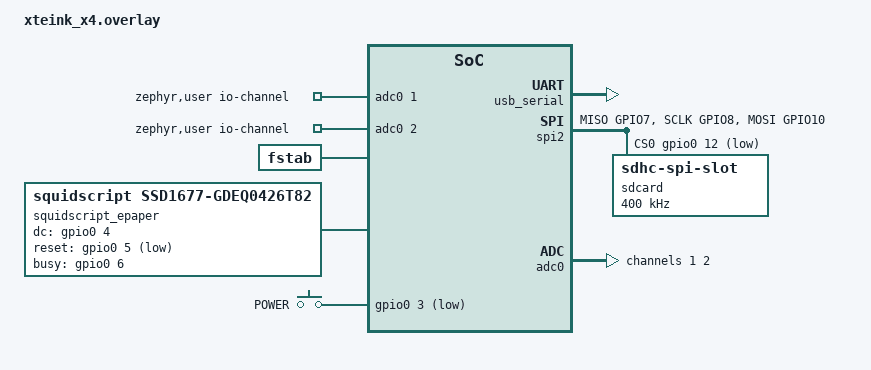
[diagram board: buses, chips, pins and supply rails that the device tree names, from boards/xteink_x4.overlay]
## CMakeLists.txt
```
cmake_minimum_required(VERSION 3.20.0)

find_package(Zephyr REQUIRED HINTS $ENV{ZEPHYR_BASE})
project(squidscript_zephyr_firmware)

include(cmake/squidvm_ffi.cmake)

set(SQUID_ZEPHYR_TARGET_JSON "$ENV{SQUID_ZEPHYR_TARGET_JSON}" CACHE FILEPATH "SquidScript target metadata JSON")
if(SQUID_ZEPHYR_TARGET_JSON STREQUAL "")
  set(SQUID_ZEPHYR_TARGET_JSON "${CMAKE_CURRENT_LIST_DIR}/../../targets/xiao-esp32c3-gdeq0426t82-sd.target.json")
endif()
set(SQUID_ZEPHYR_TARGET_OVERLAY "$ENV{SQUID_ZEPHYR_TARGET_OVERLAY}" CACHE FILEPATH "SquidScript Zephyr target overlay")
if(SQUID_ZEPHYR_TARGET_OVERLAY STREQUAL "")
  set(SQUID_ZEPHYR_TARGET_OVERLAY "${CMAKE_CURRENT_LIST_DIR}/boards/xiao_esp32c3_gdeq0426t82_sd.overlay")
endif()
set(SQUID_ZEPHYR_TARGET_DEFAULTS_H "${CMAKE_CURRENT_BINARY_DIR}/generated/squidscript_target_defaults.h")
execute_process(
  COMMAND "${Python3_EXECUTABLE}" "${CMAKE_CURRENT_LIST_DIR}/../../scripts/generate-zephyr-target-defaults.py" "${SQUID_ZEPHYR_TARGET_JSON}" "${SQUID_ZEPHYR_TARGET_DEFAULTS_H}" --zephyr-overlay "${SQUID_ZEPHYR_TARGET_OVERLAY}"
  RESULT_VARIABLE SQUID_ZEPHYR_TARGET_DEFAULTS_RESULT
)
if(NOT SQUID_ZEPHYR_TARGET_DEFAULTS_RESULT EQUAL 0)
  message(FATAL_ERROR "Failed to generate SquidScript Zephyr target defaults")
endif()

set(SQUID_ZEPHYR_FALLBACK_SOURCE "$ENV{SQUID_ZEPHYR_FALLBACK_SOURCE}" CACHE FILEPATH "SquidScript firmware fallback source")
if(SQUID_ZEPHYR_FALLBACK_SOURCE STREQUAL "")
  set(SQUID_ZEPHYR_FALLBACK_SOURCE "${CMAKE_CURRENT_LIST_DIR}/fallback/xiao-esp32c3-gdeq0426t82-sd-main.squid")
endif()
set(SQUID_ZEPHYR_FALLBACK_APP_ID "main" CACHE STRING "SquidScript firmware fallback logical app id")
set(SQUID_ZEPHYR_FALLBACK_SQBC "${CMAKE_CURRENT_BINARY_DIR}/generated/squidscript_fallback_app.sqbc")
set(SQUID_ZEPHYR_FALLBACK_H "${CMAKE_CURRENT_BINARY_DIR}/generated/squidscript_fallback_app.h")
set(SQUID_ZEPHYR_FALLBACK_C "${CMAKE_CURRENT_BINARY_DIR}/generated/squidscript_fallback_app.c")
add_custom_command(
  OUTPUT "${SQUID_ZEPHYR_FALLBACK_SQBC}" "${SQUID_ZEPHYR_FALLBACK_H}" "${SQUID_ZEPHYR_FALLBACK_C}"
  COMMAND cargo run -p squidc -- app build "${SQUID_ZEPHYR_FALLBACK_SOURCE}" --out "${SQUID_ZEPHYR_FALLBACK_SQBC}"
  COMMAND "${Python3_EXECUTABLE}" "${CMAKE_CURRENT_LIST_DIR}/../../scripts/generate-zephyr-fallback-app.py" "${SQUID_ZEPHYR_FALLBACK_SQBC}" "${SQUID_ZEPHYR_FALLBACK_APP_ID}" "${SQUID_ZEPHYR_FALLBACK_H}" "${SQUID_ZEPHYR_FALLBACK_C}"
  DEPENDS "${SQUID_ZEPHYR_FALLBACK_SOURCE}" "${CMAKE_CURRENT_LIST_DIR}/../../scripts/generate-zephyr-fallback-app.py"
  WORKING_DIRECTORY "${CMAKE_CURRENT_LIST_DIR}/../.."
  VERBATIM
)

target_include_directories(app PRIVATE src "${CMAKE_CURRENT_BINARY_DIR}/generated")

target_sources(app PRIVATE
  src/app_lifecycle.c
  src/app_store.c
  src/ble_file_transfer.c
  src/ble_file_transfer_core.c
  src/ble_profile_table.c
  src/ble_smoke.c
  src/device_protocol.c
  src/fallback_app.c
  src/http_upload.c
  src/main.c
  src/protocol.c
  src/serial_transport.c
  src/ssd1677_gray2.c
  src/ssd1677_gdeq0426t82_display.c
  src/vm_fs_storage.c
  src/vm_runtime.c
  src/vm_runtime_app_lifecycle.c
  src/vm_runtime_binbook.c
  src/vm_runtime_ble.c
  src/vm_runtime_content.c
  src/vm_runtime_device_config.c
  src/vm_runtime_display.c
  src/vm_runtime_file.c
  src/vm_runtime_http.c
  src/vm_runtime_indicator_gpio.c
  src/vm_runtime_system.c
  src/vm_runtime_timers.c
  src/vm_runtime_wifi.c
  src/vm_storage.c
  src/xteink_x4_button_probe.c
  src/debug_log.c
  "${SQUID_ZEPHYR_FALLBACK_C}"
)

option(SQUID_ZEPHYR_STACK_USAGE "Emit GCC .su stack-usage files for Zephyr app C sources" OFF)
if(SQUID_ZEPHYR_STACK_USAGE)
  target_compile_options(app PRIVATE $<$<COMPILE_LANGUAGE:C>:-fstack-usage>)
endif()

squidscript_link_squidvm_ffi(app)
```

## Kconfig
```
menu "SquidScript Zephyr firmware"

config SQUIDSCRIPT_ZEPHYR_DIAGNOSTIC
	bool "Enable SquidScript Zephyr diagnostic banner"
	default y
	help
	  Emit a minimal boot diagnostic for the initial Zephyr firmware host.

config SQUIDSCRIPT_TARGET_DISPLAY_SSD1677_EXPECTED
	bool "Target expects an SSD1677 e-paper display"
	default n
	help
	  Mark targets whose metadata declares an SSD1677 display.

config SQ_TARGET_DISPLAY_PHYSICAL_WIDTH
	int "SQ_TARGET_DISPLAY_PHYSICAL_WIDTH"
	default 0

config SQ_TARGET_DISPLAY_PHYSICAL_HEIGHT
	int "SQ_TARGET_DISPLAY_PHYSICAL_HEIGHT"
	default 0

config SQ_TARGET_DISPLAY_LOGICAL_WIDTH
	int "SQ_TARGET_DISPLAY_LOGICAL_WIDTH"
	default 0

config SQ_TARGET_DISPLAY_LOGICAL_HEIGHT
	int "SQ_TARGET_DISPLAY_LOGICAL_HEIGHT"
	default 0

config SQ_TARGET_DISPLAY_ROTATION
	int "SQ_TARGET_DISPLAY_ROTATION"
	default 0

config SQ_DISPLAY_SPI_MAX_FREQUENCY
	int "Display SPI max frequency (Hz)"
	default 4000000
	help
	  Maximum SPI clock frequency for display transfers.
	  Derived from target metadata buses.spi.shared.maxFrequencyHz.

config SQ_VM_RUNTIME_ACTIVE_BINDING_MAX
	int "SQ_VM_RUNTIME_ACTIVE_BINDING_MAX"
	default 3

config SQ_VM_RUNTIME_ARMED_TIMER_MAX
	int "SQ_VM_RUNTIME_ARMED_TIMER_MAX"
	default 2

config SQ_VM_RUNTIME_BLE_PROFILE_MAX
	int "SQ_VM_RUNTIME_BLE_PROFILE_MAX"
	default 2

config SQ_VM_RUNTIME_DEVICE_ERROR_LEN
	int "SQ_VM_RUNTIME_DEVICE_ERROR_LEN"
	default 48

config SQ_VM_RUNTIME_DEVICE_ERROR_MAX
	int "SQ_VM_RUNTIME_DEVICE_ERROR_MAX"
	default 8

config SQ_VM_RUNTIME_DISPLAY_OP_MAX
	int "SQ_VM_RUNTIME_DISPLAY_OP_MAX"
	default 48

config SQ_VM_RUNTIME_DRAWLOG_LEN
	int "SQ_VM_RUNTIME_DRAWLOG_LEN"
	default 48

config SQ_VM_RUNTIME_DRAWLOG_MAX
	int "SQ_VM_RUNTIME_DRAWLOG_MAX"
	default 4

config SQ_VM_RUNTIME_EVENT_LEN
	int "SQ_VM_RUNTIME_EVENT_LEN"
	default 24

config SQ_VM_RUNTIME_INDICATOR_BREATHE_STEPS
	int "SQ_VM_RUNTIME_INDICATOR_BREATHE_STEPS"
	default 65

config SQ_VM_RUNTIME_INPUT_BUTTON_MAX
	int "SQ_VM_RUNTIME_INPUT_BUTTON_MAX"
	default 8

config SQ_VM_RUNTIME_INPUT_EVENT_QUEUE_MAX
	int "SQ_VM_RUNTIME_INPUT_EVENT_QUEUE_MAX"
	default 8

config SQ_VM_RUNTIME_INPUT_DEBOUNCE_MS
	int "SQ_VM_RUNTIME_INPUT_DEBOUNCE_MS"
	default 30

config SQ_VM_RUNTIME_INPUT_POLL_MS
	int "SQ_VM_RUNTIME_INPUT_POLL_MS"
	default 20

config SQ_VM_RUNTIME_OUTPUT_LEN
	int "SQ_VM_RUNTIME_OUTPUT_LEN"
	default 54

config SQ_VM_RUNTIME_OUTPUT_MAX
	int "SQ_VM_RUNTIME_OUTPUT_MAX"
	default 6

config SQ_VM_RUNTIME_RETURN_STACK_MAX
	int "SQ_VM_RUNTIME_RETURN_STACK_MAX"
	default 2

config SQ_VM_RUNTIME_TIMER_MAX
	int "SQ_VM_RUNTIME_TIMER_MAX"
	default 4

config SQ_VM_RUNTIME_TRACE_LEN
	int "SQ_VM_RUNTIME_TRACE_LEN"
	default 26

config SQ_VM_RUNTIME_TRACE_MAX
	int "SQ_VM_RUNTIME_TRACE_MAX"
	default 4

config SQ_VM_RUNTIME_WIFI_AUTH_LEN
	int "SQ_VM_RUNTIME_WIFI_AUTH_LEN"
	default 24

config SQ_VM_RUNTIME_WIFI_BSSID_LEN
	int "SQ_VM_RUNTIME_WIFI_BSSID_LEN"
	default 18

config SQ_VM_RUNTIME_WIFI_IPV4_LEN
	int "SQ_VM_RUNTIME_WIFI_IPV4_LEN"
	default 16

config SQ_VM_RUNTIME_WIFI_PROFILE_NAME_BYTES
	int "SQ_VM_RUNTIME_WIFI_PROFILE_NAME_BYTES"
	default 16

config SQ_VM_RUNTIME_WIFI_PROFILE_PASSWORD_BYTES
	int "SQ_VM_RUNTIME_WIFI_PROFILE_PASSWORD_BYTES"
	default 64

config SQ_VM_RUNTIME_WIFI_PROFILE_SSID_BYTES
	int "SQ_VM_RUNTIME_WIFI_PROFILE_SSID_BYTES"
	default 32

config SQ_VM_RUNTIME_WIFI_SSID_LEN
	int "SQ_VM_RUNTIME_WIFI_SSID_LEN"
	default 33

config SQ_VM_RUNTIME_WORK_STACK_SIZE
	int "SQ_VM_RUNTIME_WORK_STACK_SIZE"
	default 24576

config SQ_VM_RUNTIME_DISPLAY_WORK_STACK_SIZE
	int "SQ_VM_RUNTIME_DISPLAY_WORK_STACK_SIZE"
	default 4096

config SQ_APP_STORE_APP_FILE_PATH_MAX
	int "SQ_APP_STORE_APP_FILE_PATH_MAX"
	default 64

config SQ_APP_STORE_APP_ID_MAX
	int "SQ_APP_STORE_APP_ID_MAX"
	default 40

config SQ_APP_STORE_APP_STATE_PATH_MAX
	int "SQ_APP_STORE_APP_STATE_PATH_MAX"
	default 60

config SQ_APP_STORE_DEVICE_CONFIG_PATH_MAX
	int "SQ_APP_STORE_DEVICE_CONFIG_PATH_MAX"
	default 40

config SQ_APP_STORE_MAX_APPS
	int "SQ_APP_STORE_MAX_APPS"
	default 8

config SQ_APP_STORE_PATH_MAX
	int "SQ_APP_STORE_PATH_MAX"
	default 128

config SQ_APP_STORE_PLANNED_RESUME_PATH_MAX
	int "SQ_APP_STORE_PLANNED_RESUME_PATH_MAX"
	default 48

config SQ_DEVICE_INSTALL_MAX_BYTES
	int "SQ_DEVICE_INSTALL_MAX_BYTES"
	default 65536

config SQ_DEVICE_RESOURCE_PATH_BYTES
	int "SQ_DEVICE_RESOURCE_PATH_BYTES"
	default 80

config SQ_DEVICE_RESPONSE_BYTES
	int "SQ_DEVICE_RESPONSE_BYTES"
	default 1088

config SQ_DEVICE_STAGING_PATH_BYTES
	int "SQ_DEVICE_STAGING_PATH_BYTES"
	default 80

config SQ_SERIAL_MAX_FRAME_LEN
	int "SQ_SERIAL_MAX_FRAME_LEN"
	default 256

endmenu

source "Kconfig.zephyr"
```

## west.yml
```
manifest:
  remotes:
    - name: zephyrproject-rtos
      url-base: https://github.com/zephyrproject-rtos
  projects:
    - name: zephyr
      remote: zephyrproject-rtos
      revision: main
      import:
        name-allowlist:
          - cmsis
          - hal_espressif
          - fatfs
          - littlefs
          - mbedtls
          - tf-psa-crypto
  self:
    path: SquidScript
```

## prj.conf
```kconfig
CONFIG_MAIN_STACK_SIZE=4864
CONFIG_INIT_STACKS=y
CONFIG_THREAD_STACK_INFO=y
CONFIG_SERIAL=y
CONFIG_CONSOLE=y
CONFIG_UART_CONSOLE=y
CONFIG_GPIO=y
CONFIG_LOG=y
CONFIG_LOG_PRINTK=y
CONFIG_LOG_BUFFER_SIZE=512
CONFIG_LOG_PROCESS_THREAD_STACK_SIZE=768
CONFIG_SYS_HEAP_RUNTIME_STATS=y
CONFIG_FLASH=y
CONFIG_FLASH_MAP=y
CONFIG_NVS=y
CONFIG_FILE_SYSTEM=y
CONFIG_FILE_SYSTEM_MAX_FILE_NAME=80
CONFIG_FILE_SYSTEM_LITTLEFS=y
# Installing a received app while one is running needs several concurrent open
# files: the running app's bytecode, plus the install source and staged
# destination. 2 is not enough (install fails with -ENOMEM); 4 covers the
# install path with margin.
CONFIG_FS_LITTLEFS_NUM_FILES=4
CONFIG_SQUIDSCRIPT_ZEPHYR_DIAGNOSTIC=y
CONFIG_POWEROFF=y

CONFIG_NETWORKING=y
CONFIG_NET_IPV4=y
CONFIG_NET_IPV6=n
CONFIG_NET_DHCPV4=y
CONFIG_NET_UDP=y
CONFIG_NET_DHCPV4_SERVER=y
CONFIG_NET_DHCPV4_SERVER_ADDR_COUNT=4
CONFIG_NET_DHCPV4_SERVER_ICMP_PROBE_TIMEOUT=0

CONFIG_WIFI_USAGE_MODE_STA_AP=y

CONFIG_NET_MGMT=y
CONFIG_NET_MGMT_EVENT=y
CONFIG_NET_MGMT_EVENT_INFO=y
CONFIG_NET_MGMT_EVENT_QUEUE_SIZE=8
CONFIG_NET_MGMT_EVENT_QUEUE_TIMEOUT=5000
CONFIG_NET_L2_WIFI_MGMT=y

# The canonical firmware performs low-throughput control-plane networking:
# scan/status, station connect/disconnect, AP DHCP, and small service records.
# Keep native networking pools bounded for ESP32-C3 RAM instead of using the
# Ethernet-oriented Zephyr defaults.
CONFIG_NET_PKT_RX_COUNT=6
CONFIG_NET_PKT_TX_COUNT=6
CONFIG_NET_BUF_RX_COUNT=16
CONFIG_NET_BUF_TX_COUNT=16

# Hardware-verified stack budgets for the current ESP32-C3 Wi-Fi scope. Recheck
# before adding TCP, HTTP/server proof, AP client throughput, or bulk transfers.
CONFIG_NET_SOCKETS_SERVICE_STACK_SIZE=1600
CONFIG_NET_MGMT_EVENT_STACK_SIZE=1536
CONFIG_ESP32_TIMER_TASK_STACK_SIZE=3072
CONFIG_NET_RX_STACK_SIZE=1536
CONFIG_HEAP_MEM_POOL_SIZE=65536
CONFIG_HEAP_MEM_POOL_IGNORE_MIN=y

# HTTP upload uses a narrow firmware TCP listener over the device AP.
CONFIG_NET_TCP=y
CONFIG_NET_SOCKETS=y
CONFIG_POSIX_API=y

# Current BLE support is a low-throughput peripheral/control-plane path. Keep
# host buffers bounded instead of inheriting connection-heavy defaults.
CONFIG_BT_BUF_ACL_TX_COUNT=3
CONFIG_BT_L2CAP_TX_BUF_COUNT=3
CONFIG_BT_ATT_TX_COUNT=3
CONFIG_BT_CONN_TX_MAX=3
CONFIG_BT_BUF_EVT_RX_COUNT=4
CONFIG_BT_BUF_EVT_DISCARDABLE_COUNT=1
CONFIG_ESP32_BT_CTLR_LE_MAX_CONN=1
CONFIG_ESP32_BT_CTLR_LE_MAX_ACT=2

# The file-transfer transport is the custom GATT service in
# firmware/zephyr/src/ble_file_transfer.c, auto-registered via
# BT_GATT_SERVICE_DEFINE.
```

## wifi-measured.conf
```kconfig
# Measured ESP32-C3 Super Mini Wi-Fi scan/status build profile.
# This opt-in overlay enables the real Zephyr ESP32 Wi-Fi driver without
# changing the default RAM-guarded development firmware profile.

CONFIG_NETWORKING=y
CONFIG_NET_IPV4=y
CONFIG_NET_IPV6=n

CONFIG_WIFI=y
CONFIG_WIFI_USAGE_MODE_SCAN_ONLY=y

CONFIG_NET_MGMT=y
CONFIG_NET_MGMT_EVENT=y
CONFIG_NET_MGMT_EVENT_INFO=y
CONFIG_NET_MGMT_EVENT_QUEUE_SIZE=16
CONFIG_NET_MGMT_EVENT_QUEUE_TIMEOUT=5000
CONFIG_NET_L2_WIFI_MGMT=y

# Keep this first profile focused on scan/status measurement. AP, station,
# DHCP, TCP, sockets, and credential flows should be measured separately.
CONFIG_NET_TCP=n
```

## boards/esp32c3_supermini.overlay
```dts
/*
 * ESP32-C3 Super Mini Zephyr overlay.
 *
 * The upstream esp32c3_supermini board already selects USB Serial/JTAG console
 * and the common GPIO8 LED. This overlay adds SquidScript's logical
 * indicator0 PWM binding for smooth indicator output.
 */

#include <zephyr/dt-bindings/pwm/pwm.h>

/ {
	chosen {
		zephyr,console = &usb_serial;
		zephyr,shell-uart = &usb_serial;
	};

	aliases {
		indicator0 = &pwm_indicator;
		led0 = &blue_led;
		pwm-0 = &ledc0;
		pwm-led0 = &pwm_indicator;
	};

	leds {
		compatible = "gpio-leds";
		blue_led: led_0 {
			gpios = <&gpio0 8 GPIO_ACTIVE_LOW>;
			label = "ESP32-C3 Super Mini common clone onboard LED";
		};
	};

	pwmleds {
		compatible = "pwm-leds";
		pwm_indicator: pwm_led_0 {
			pwms = <&ledc0 0 1000000 PWM_POLARITY_NORMAL>;
			label = "ESP32-C3 Super Mini common clone onboard LED PWM";
		};
	};
};

&pinctrl {
	ledc0_default: ledc0_default {
		group1 {
			pinmux = <LEDC_CH0_GPIO8>;
			output-enable;
		};
	};
};

&ledc0 {
	pinctrl-0 = <&ledc0_default>;
	pinctrl-names = "default";
	status = "okay";
	#address-cells = <1>;
	#size-cells = <0>;

	channel0@0 {
		reg = <0x0>;
		timer = <0>;
	};
};
```

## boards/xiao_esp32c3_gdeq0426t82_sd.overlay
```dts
/*
 * SquidScript XIAO ESP32-C3 + Seeed XIAO ePaper Driver Board overlay.
 *
 * The upstream Zephyr xiao_esp32c3 board owns SoC support, USB serial, Wi-Fi,
 * BLE HCI, and the XIAO connector mapping. This overlay describes only the
 * SquidScript target environment layered on that board.
 */

#include <zephyr/dt-bindings/gpio/gpio.h>
#include <zephyr/dt-bindings/pinctrl/esp32c3-pinctrl.h>

/ {
	chosen {
		zephyr,console = &usb_serial;
		zephyr,shell-uart = &usb_serial;
	};

	aliases {
		display0 = &squidscript_epaper;
		epaper0 = &squidscript_epaper;
	};

	squidscript_epaper: squidscript_epaper {
		compatible = "squidscript,ssd1677-gdeq0426t82";
		spi = <&spi2>;
		cs-gpios = <&gpio0 3 GPIO_ACTIVE_LOW>;   /* XIAO D1 */
		dc-gpios = <&gpio0 5 GPIO_ACTIVE_HIGH>;  /* XIAO D3 */
		reset-gpios = <&gpio0 2 GPIO_ACTIVE_LOW>; /* XIAO D0, strapping */
		busy-gpios = <&gpio0 4 GPIO_ACTIVE_HIGH>; /* XIAO D2 */
		width = <800>;
		height = <480>;
	};
};

&pinctrl {
	spim2_epaper_default: spim2_epaper_default {
		group1 {
			pinmux = <SPIM2_SCLK_GPIO8>,
				 <SPIM2_MOSI_GPIO10>;
			output-low;
		};
	};
};

&spi2 {
	status = "okay";
	pinctrl-0 = <&spim2_epaper_default>;
	pinctrl-names = "default";
};

&slot1_partition {
	reg = <0x1e0000 0x100000>;
};

&flash0 {
	partitions {
		/delete-node/ partition@3b0000;

		storage_partition: partition@2e0000 {
			compatible = "zephyr,mapped-partition";
			label = "storage";
			reg = <0x2e0000 0xc0000>;
		};
	};
};
```

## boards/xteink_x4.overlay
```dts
/*
 * SquidScript XTEINK X4 overlay.
 *
 * The upstream ESP32-C3 DevKitM board supplies the generic ESP32-C3 SoC,
 * Wi-Fi, Bluetooth HCI, and flash tooling defaults. This overlay describes
 * the XTEINK X4 device wiring used by SquidScript firmware.
 */

#include <zephyr/dt-bindings/gpio/gpio.h>
#include <zephyr/dt-bindings/pinctrl/esp32c3-pinctrl.h>

/ {
	chosen {
		zephyr,console = &usb_serial;
		zephyr,shell-uart = &usb_serial;
	};

	/delete-node/ gpio_keys;

	aliases {
		/delete-property/ sw0;
		display0 = &squidscript_epaper;
		epaper0 = &squidscript_epaper;
		sdhc0 = &sdcard;
	};

	zephyr,user {
		io-channels = <&adc0 1>, <&adc0 2>;
	};

	fstab {
		compatible = "zephyr,fstab";

		sd_content: sd_content {
			compatible = "zephyr,fstab,fatfs";
			automount;
			disk-access;
			mount-point = "/SD:";
		};
	};

	squidscript_epaper: squidscript_epaper {
		compatible = "squidscript,ssd1677-gdeq0426t82";
		spi = <&spi2>;
		cs-gpios = <&gpio0 21 GPIO_ACTIVE_LOW>;
		dc-gpios = <&gpio0 4 GPIO_ACTIVE_HIGH>;
		reset-gpios = <&gpio0 5 GPIO_ACTIVE_LOW>;
		busy-gpios = <&gpio0 6 GPIO_ACTIVE_HIGH>;
		width = <800>;
		height = <480>;
	};

	x4_power_keys {
		compatible = "gpio-keys";

		x4_power_button: power {
			gpios = <&gpio0 3 (GPIO_ACTIVE_LOW | GPIO_PULL_UP)>;
			label = "POWER";
		};
	};
};

&pinctrl {
	spim2_xteink_x4_default: spim2_xteink_x4_default {
		group1 {
			pinmux = <SPIM2_MISO_GPIO7>,
				 <SPIM2_SCLK_GPIO8>,
				 <SPIM2_MOSI_GPIO10>;
			output-low;
		};
	};
};

&uart0 {
	status = "disabled";
};

&usb_serial {
	status = "okay";
};

&i2c0 {
	status = "disabled";
};

&spi2 {
	status = "okay";
	pinctrl-0 = <&spim2_xteink_x4_default>;
	pinctrl-names = "default";
	cs-gpios = <&gpio0 12 GPIO_ACTIVE_LOW>;

	sdcard: sdcard@0 {
		compatible = "zephyr,sdhc-spi-slot";
		reg = <0>;
		status = "okay";
		spi-max-frequency = <400000>;

		sdmmc {
			compatible = "zephyr,sdmmc-disk";
			disk-name = "SD";
			status = "okay";
		};
	};
};

&adc0 {
	status = "okay";
	#address-cells = <1>;
	#size-cells = <0>;

	channel@1 {
		reg = <1>;
		zephyr,gain = "ADC_GAIN_1_4";
		zephyr,reference = "ADC_REF_INTERNAL";
		zephyr,acquisition-time = <ADC_ACQ_TIME_DEFAULT>;
		zephyr,resolution = <12>;
	};

	channel@2 {
		reg = <2>;
		zephyr,gain = "ADC_GAIN_1_4";
		zephyr,reference = "ADC_REF_INTERNAL";
		zephyr,acquisition-time = <ADC_ACQ_TIME_DEFAULT>;
		zephyr,resolution = <12>;
	};
};

&flash0 {
	reg = <0x0 DT_SIZE_M(16)>;
	ranges = <0x0 0x0 DT_SIZE_M(16)>;

	partitions {
		/delete-node/ partition@1e0000;
		/delete-node/ partition@3a0000;
		/delete-node/ partition@3a8000;
		/delete-node/ partition@3b0000;
		/delete-node/ partition@3e0000;
		/delete-node/ partition@3ff000;

		slot1_partition: partition@7e0000 {
			compatible = "zephyr,mapped-partition";
			label = "image-1";
			reg = <0x7e0000 DT_SIZE_K(7936)>;
		};

		slot0_lpcore_partition: partition@fa0000 {
			compatible = "zephyr,mapped-partition";
			label = "image-0-lpcore";
			reg = <0xfa0000 DT_SIZE_K(32)>;
		};

		slot1_lpcore_partition: partition@fa8000 {
			compatible = "zephyr,mapped-partition";
			label = "image-1-lpcore";
			reg = <0xfa8000 DT_SIZE_K(32)>;
		};

		storage_partition: partition@fb0000 {
			compatible = "zephyr,mapped-partition";
			label = "storage";
			reg = <0xfb0000 DT_SIZE_K(192)>;
		};

		scratch_partition: partition@fe0000 {
			compatible = "zephyr,mapped-partition";
			label = "image-scratch";
			reg = <0xfe0000 DT_SIZE_K(124)>;
		};

		coredump_partition: partition@fff000 {
			compatible = "zephyr,mapped-partition";
			label = "coredump";
			reg = <0xfff000 DT_SIZE_K(4)>;
		};
	};
};

&slot0_partition {
	reg = <0x20000 DT_SIZE_K(7936)>;
};
```

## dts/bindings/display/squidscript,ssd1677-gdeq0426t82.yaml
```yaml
description: SquidScript SSD1677 GDEQ0426T82 e-paper target binding

compatible: "squidscript,ssd1677-gdeq0426t82"

include: base.yaml

properties:
  spi:
    type: phandle
    required: true
    description: SPI controller used for SSD1677 command/data transfers.

  cs-gpios:
    type: phandle-array
    required: true
    description: Display chip-select GPIO.

  dc-gpios:
    type: phandle-array
    required: true
    description: Display data/command GPIO.

  reset-gpios:
    type: phandle-array
    required: true
    description: Display reset GPIO.

  busy-gpios:
    type: phandle-array
    required: true
    description: SSD1677 BUSY GPIO. Active high means the controller is busy.

  width:
    type: int
    required: true
    description: Physical panel width in pixels.

  height:
    type: int
    required: true
    description: Physical panel height in pixels.
```

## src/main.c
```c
#include <zephyr/kernel.h>
#include <zephyr/device.h>
#include <zephyr/drivers/uart.h>
#include <zephyr/logging/log.h>
#include <zephyr/fs/fs.h>
#include <zephyr/sys/util.h>
#include <errno.h>
#include <stdio.h>
#if defined(CONFIG_SOC_ESP32C3)
#include <zephyr/sys/poweroff.h>
#include <esp_sleep.h>
#endif

#include "app_store.h"
#include "ble_file_transfer_core.h"
#include "ble_smoke.h"
#include "device_protocol.h"
#include "http_upload.h"
#include "serial_transport.h"
#include "sq_errno.h"
#include "squidscript_fallback_app.h"
#include "debug_log.h"

LOG_MODULE_REGISTER(squidscript, LOG_LEVEL_INF);

#if defined(CONFIG_SOC_ESP32C3)
int sq_device_protocol_enter_planned_sleep(int32_t wake_after_ms)
{
	if (wake_after_ms <= 0) {
		return -EINVAL;
	}
	esp_sleep_enable_timer_wakeup((uint64_t)wake_after_ms * 1000ULL);
	LOG_INF("planned sleep entering deep sleep for %d ms", wake_after_ms);
	sys_poweroff();
	return 0;
}

static bool planned_resume_wake_cause(void)
{
	return (esp_sleep_get_wakeup_causes() & BIT(ESP_SLEEP_WAKEUP_TIMER)) != 0;
}
#else
static bool planned_resume_wake_cause(void)
{
	return false;
}
#endif

static void clear_stale_planned_resume(const char *mount_point)
{
	char path[SQ_APP_STORE_PLANNED_RESUME_PATH_MAX];

	if (mount_point == NULL ||
	    sq_app_store_planned_resume_path(mount_point, path, sizeof(path)) != 0) {
		return;
	}
	(void)fs_unlink(path);
}

static void record_ble_transfer_error(void *user_data, const char *line)
{
	(void)sq_vm_runtime_record_device_error((struct sq_vm_runtime *)user_data, line);
}

int main(void)
{
	const struct device *uart = DEVICE_DT_GET(DT_CHOSEN(zephyr_console));
	static struct sq_serial_transport transport;
	static const struct sq_device_identity identity = {
		.target = CONFIG_BOARD,
		.firmware = "squidscript-zephyr",
		.diagnostic = IS_ENABLED(CONFIG_SQUIDSCRIPT_ZEPHYR_DIAGNOSTIC),
	};
	static struct sq_app_registry registry;
	static struct sq_device_install_session install_session;
	static struct sq_device_temp_session temp_session;
	static struct sq_device_resource_session resource_session;
	static struct sq_device_content_session content_session;
	static struct sq_device_protocol_scratch protocol_scratch;
	static struct sq_vm_runtime runtime;
	static struct sq_app_store_vm_storage launch_storage;
	static struct sq_app_store_vm_storage trigger_storage;
	static uint8_t response[SQ_DEVICE_RESPONSE_BYTES];
	static struct sq_device_protocol_context protocol_context;
	size_t response_len = 0;
	uint8_t byte;
	bool registry_ready = false;

#if IS_ENABLED(CONFIG_SQUIDSCRIPT_ZEPHYR_DIAGNOSTIC)
	LOG_INF("SquidScript Zephyr firmware diagnostic boot");
#endif

	if (!device_is_ready(uart)) {
		LOG_ERR("Zephyr console UART is not ready");
		return 1;
	}

	protocol_context = (struct sq_device_protocol_context){
		.identity = &identity,
		.registry = &registry,
		.mutable_registry = &registry,
		.install_session = &install_session,
		.temp_session = &temp_session,
		.resource_session = &resource_session,
		.content_session = &content_session,
		.scratch = &protocol_scratch,
		.runtime = &runtime,
		.launch_storage = &launch_storage,
		.trigger_storage = &trigger_storage,
		.fallback_app = &sq_zephyr_fallback_app,
	};

	sq_debug_log_init();
	int storage_result = sq_app_store_mount_target_filesystem();
	if (storage_result == 0) {
		LOG_INF("Mounted SquidScript app store at %s", sq_app_store_mount_point());
		protocol_context.store_mount_point = sq_app_store_mount_point();
		sq_vm_runtime_set_store_mount_point(&runtime, sq_app_store_mount_point());
		int registry_result = sq_app_store_scan_registry(sq_app_store_mount_point(), &registry);
		if (registry_result != 0) {
			LOG_WRN("SquidScript app registry unavailable: %d", registry_result);
		} else {
			registry_ready = true;
		}
	} else {
		LOG_WRN("SquidScript app store unavailable: %d", storage_result);
	}

	sq_serial_transport_init(&transport);
	sq_ble_file_transfer_set_registry(&registry);
	sq_ble_file_transfer_set_fallback_app_id(sq_zephyr_fallback_app.app_id);
	sq_http_upload_set_registry(&registry);
	sq_http_upload_set_fallback_app_id(sq_zephyr_fallback_app.app_id);
	sq_vm_runtime_init(&runtime);
	sq_ble_file_transfer_set_error_sink(record_ble_transfer_error, &runtime);
	sq_http_upload_set_error_sink(record_ble_transfer_error, &runtime);
	sq_vm_runtime_set_registry(&runtime, &registry);
	sq_vm_runtime_set_mutable_registry(&runtime, &registry);
	if (registry_ready) {
		int root_result;

		if (planned_resume_wake_cause()) {
			root_result = sq_device_protocol_restore_planned_resume(&protocol_context);
			if (root_result == 0) {
				LOG_INF("planned resume restored foreground app");
			} else {
				LOG_WRN("planned resume restore failed: %d", root_result);
				root_result = sq_device_protocol_start_root(&protocol_context);
			}
		} else {
			clear_stale_planned_resume(protocol_context.store_mount_point);
			root_result = sq_device_protocol_start_root(&protocol_context);
		}
		if (root_result != 0) {
			LOG_WRN("SquidScript root app launch failed: %d", root_result);
		}
	}

	(void)sq_ble_smoke_start();
#if IS_ENABLED(CONFIG_SQUIDSCRIPT_ZEPHYR_DIAGNOSTIC)
	LOG_INF("SquidScript Zephyr firmware diagnostic boot");
#endif

	while (true) {
		bool consumed = false;

		while (uart_poll_in(uart, &byte) == 0) {
			consumed = true;
			int result = sq_serial_transport_push_byte(&transport, byte,
								   &protocol_context,
								   response, sizeof(response),
								   &response_len);
			if (result > 0) {
				for (size_t i = 0; i < response_len; i++) {
					uart_poll_out(uart, response[i]);
				}
			} else if (result < 0) {
				sq_serial_transport_init(&transport);
			}
		}

		(void)sq_device_protocol_poll(&protocol_context);

		if (!consumed) {
			k_sleep(K_MSEC(1));
		}
	}
}
```

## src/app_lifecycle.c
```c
#include "app_lifecycle.h"

#include <errno.h>
#include <stdbool.h>
#include <string.h>

#include "debug_log.h"

static int copy_app_id_bytes(char *out, size_t out_cap, const uint8_t *app, size_t app_len)
{
	if (out == NULL || out_cap == 0 || app == NULL || app_len == 0 || app_len >= out_cap) {
		return -EINVAL;
	}
	memset(out, 0, out_cap);
	memcpy(out, app, app_len);
	return 0;
}

static int copy_app_id_text(char *out, size_t out_cap, const char *app)
{
	if (out == NULL || out_cap == 0 || app == NULL || app[0] == '\0') {
		return -EINVAL;
	}
	size_t len = 0;

	while (len < out_cap && app[len] != '\0') {
		len++;
	}
	if (len == 0 || len >= out_cap) {
		return -EINVAL;
	}
	memset(out, 0, out_cap);
	memcpy(out, app, len);
	return 0;
}

static int set_start_reason(struct sq_vm_runtime *runtime, const char *reason)
{
	return copy_app_id_text(runtime->start_reason, sizeof(runtime->start_reason), reason);
}

static int set_step_start(struct sq_app_lifecycle_step *step, const char *app_id,
			  const char *event, bool set_current, bool temp_app)
{
	int result;

	result = copy_app_id_text(step->app_id, sizeof(step->app_id), app_id);
	if (result != 0) {
		return result;
	}
	result = copy_app_id_text(step->event, sizeof(step->event), event);
	if (result != 0) {
		return result;
	}
	step->kind = SQ_APP_LIFECYCLE_STEP_START_APP;
	step->set_current = set_current;
	step->temp_app = temp_app;
	return 0;
}

static bool app_id_is_main(const char *app_id)
{
	return app_id != NULL && strcmp(app_id, "main") == 0;
}

int sq_app_lifecycle_request_launch(struct sq_vm_runtime *runtime, const uint8_t *app,
				    size_t app_len)
{
	int result;

	if (runtime == NULL || app == NULL || app_len == 0 ||
	    app_len >= sizeof(runtime->lifecycle_target_app)) {
		return -EINVAL;
	}
	if (sq_vm_runtime_lifecycle_busy(runtime)) {
		return -EBUSY;
	}
	result = copy_app_id_bytes(runtime->lifecycle_target_app,
				   sizeof(runtime->lifecycle_target_app), app, app_len);
	if (result != 0) {
		return result;
	}
	runtime->lifecycle_target_temp = false;
	runtime->lifecycle_phase = SQ_VM_RUNTIME_LIFECYCLE_LAUNCH_REQUESTED;
	return 0;
}

int sq_app_lifecycle_request_temp_launch(struct sq_vm_runtime *runtime, const uint8_t *app,
					 size_t app_len)
{
	int result;

	if (runtime == NULL || app == NULL || app_len == 0 ||
	    app_len >= sizeof(runtime->lifecycle_target_app)) {
		return -EINVAL;
	}
	if (sq_vm_runtime_lifecycle_busy(runtime)) {
		return -EBUSY;
	}
	result = copy_app_id_bytes(runtime->lifecycle_target_app,
				   sizeof(runtime->lifecycle_target_app), app, app_len);
	if (result != 0) {
		return result;
	}
	runtime->lifecycle_target_temp = true;
	runtime->lifecycle_phase = SQ_VM_RUNTIME_LIFECYCLE_LAUNCH_REQUESTED;
	return 0;
}

int sq_app_lifecycle_request_arm(struct sq_vm_runtime *runtime, const uint8_t *app,
				 size_t app_len)
{
	int result;

	if (runtime == NULL || app == NULL || app_len == 0 ||
	    app_len >= sizeof(runtime->arm_target_app)) {
		return -EINVAL;
	}
	if (sq_vm_runtime_arm_busy(runtime)) {
		return -EBUSY;
	}
	result = copy_app_id_bytes(runtime->arm_target_app, sizeof(runtime->arm_target_app), app,
				   app_len);
	if (result != 0) {
		return result;
	}
	runtime->arm_phase = SQ_VM_RUNTIME_ARM_REQUESTED;
	return 0;
}

int sq_app_lifecycle_cancel_pending_arm(struct sq_vm_runtime *runtime, const uint8_t *app,
					size_t app_len)
{
	if (runtime == NULL || app == NULL) {
		return -EINVAL;
	}
	if (runtime->arm_phase == SQ_VM_RUNTIME_ARM_REQUESTED &&
	    strlen(runtime->arm_target_app) == app_len &&
	    memcmp(runtime->arm_target_app, app, app_len) == 0) {
		memset(runtime->arm_target_app, 0, sizeof(runtime->arm_target_app));
		runtime->arm_phase = SQ_VM_RUNTIME_ARM_IDLE;
	}
	return 0;
}

int sq_app_lifecycle_request_sleep(struct sq_vm_runtime *runtime, int32_t wake_after_ms)
{
	if (runtime == NULL || wake_after_ms <= 0) {
		return -EINVAL;
	}
	if (runtime->current_app_temp) {
		sq_vm_runtime_record_device_error(runtime, "temp app sleep unsupported");
		return -ENOTSUP;
	}
	if (sq_vm_runtime_lifecycle_busy(runtime)) {
		return -EBUSY;
	}
	runtime->lifecycle_phase = SQ_VM_RUNTIME_LIFECYCLE_SLEEP_REQUESTED;
	runtime->planned_sleep_wake_after_ms = wake_after_ms;
	return 0;
}

void sq_app_lifecycle_cancel_pending_after_dispatch_error(struct sq_vm_runtime *runtime,
							  int result)
{
	if (runtime == NULL || result == 0) {
		return;
	}
	if (runtime->lifecycle_phase == SQ_VM_RUNTIME_LIFECYCLE_LAUNCH_REQUESTED ||
	    runtime->lifecycle_phase == SQ_VM_RUNTIME_LIFECYCLE_SLEEP_REQUESTED) {
		runtime->lifecycle_phase = SQ_VM_RUNTIME_LIFECYCLE_IDLE;
		memset(runtime->lifecycle_target_app, 0, sizeof(runtime->lifecycle_target_app));
		runtime->lifecycle_target_temp = false;
		memset(runtime->lifecycle_previous_app, 0, sizeof(runtime->lifecycle_previous_app));
		runtime->lifecycle_previous_app_temp = false;
	}
	if (runtime->lifecycle_phase == SQ_VM_RUNTIME_LIFECYCLE_IDLE &&
	    runtime->arm_phase == SQ_VM_RUNTIME_ARM_REQUESTED) {
		runtime->arm_phase = SQ_VM_RUNTIME_ARM_IDLE;
		memset(runtime->arm_target_app, 0, sizeof(runtime->arm_target_app));
	}
}

void sq_app_lifecycle_cancel_pending_after_start_failure(struct sq_vm_runtime *runtime,
							 int result)
{
	if (runtime == NULL || result == 0) {
		return;
	}
	if (runtime->lifecycle_phase == SQ_VM_RUNTIME_LIFECYCLE_EXIT_FOR_LAUNCH ||
	    runtime->lifecycle_phase == SQ_VM_RUNTIME_LIFECYCLE_SLEEP_CHECKPOINT ||
	    runtime->lifecycle_phase == SQ_VM_RUNTIME_LIFECYCLE_RETURN_REQUESTED) {
		runtime->lifecycle_phase = SQ_VM_RUNTIME_LIFECYCLE_IDLE;
		memset(runtime->lifecycle_target_app, 0, sizeof(runtime->lifecycle_target_app));
		runtime->lifecycle_target_temp = false;
		memset(runtime->lifecycle_previous_app, 0, sizeof(runtime->lifecycle_previous_app));
		runtime->lifecycle_previous_app_temp = false;
	}
}

int sq_app_lifecycle_push_return(struct sq_vm_runtime *runtime, const char *app_id)
{
	if (runtime == NULL || app_id == NULL || app_id[0] == '\0') {
		return 0;
	}
	if (runtime->return_stack_count >= SQ_VM_RUNTIME_RETURN_STACK_MAX) {
		return -ENOSPC;
	}
	int result = copy_app_id_text(runtime->return_stack[runtime->return_stack_count],
				      sizeof(runtime->return_stack[0]), app_id);

	if (result != 0) {
		return result;
	}
	runtime->return_stack_temp[runtime->return_stack_count] =
		strcmp(runtime->current_app, app_id) == 0 && runtime->current_app_temp;
	runtime->return_stack_count++;
	return 0;
}

int sq_app_lifecycle_pop_return(struct sq_vm_runtime *runtime, char *out, size_t out_len)
{
	if (runtime == NULL || out == NULL || out_len == 0) {
		return -EINVAL;
	}
	if (runtime->return_stack_count == 0) {
		runtime->lifecycle_target_temp = false;
		return copy_app_id_text(out, out_len, "main");
	}
	runtime->return_stack_count--;
	int result = copy_app_id_text(out, out_len, runtime->return_stack[runtime->return_stack_count]);

	runtime->lifecycle_target_temp = runtime->return_stack_temp[runtime->return_stack_count];
	memset(runtime->return_stack[runtime->return_stack_count], 0,
	       sizeof(runtime->return_stack[0]));
	runtime->return_stack_temp[runtime->return_stack_count] = false;
	return result;
}

void sq_app_lifecycle_clear_temp_routes(struct sq_vm_runtime *runtime)
{
	if (runtime == NULL) {
		return;
	}
	if (runtime->current_app_temp) {
		memset(runtime->current_app, 0, sizeof(runtime->current_app));
		runtime->current_app_temp = false;
	}
	if (runtime->lifecycle_target_temp) {
		memset(runtime->lifecycle_target_app, 0, sizeof(runtime->lifecycle_target_app));
		runtime->lifecycle_target_temp = false;
	}
	if (runtime->lifecycle_previous_app_temp) {
		memset(runtime->lifecycle_previous_app, 0, sizeof(runtime->lifecycle_previous_app));
		runtime->lifecycle_previous_app_temp = false;
	}
	for (size_t i = 0; i < runtime->return_stack_count;) {
		if (!runtime->return_stack_temp[i]) {
			i++;
			continue;
		}
		for (size_t j = i; j + 1 < runtime->return_stack_count; j++) {
			memcpy(runtime->return_stack[j], runtime->return_stack[j + 1],
			       sizeof(runtime->return_stack[j]));
			runtime->return_stack_temp[j] = runtime->return_stack_temp[j + 1];
		}
		runtime->return_stack_count--;
		memset(runtime->return_stack[runtime->return_stack_count], 0,
		       sizeof(runtime->return_stack[0]));
		runtime->return_stack_temp[runtime->return_stack_count] = false;
	}
}

int sq_app_lifecycle_restore_planned_route(
	struct sq_vm_runtime *runtime,
	const char return_stack[SQ_VM_RUNTIME_RETURN_STACK_MAX][SQ_APP_STORE_APP_ID_MAX],
	uint8_t return_stack_count)
{
	if (runtime == NULL || return_stack == NULL ||
	    return_stack_count > SQ_VM_RUNTIME_RETURN_STACK_MAX) {
		return -EINVAL;
	}

	runtime->lifecycle_phase = SQ_VM_RUNTIME_LIFECYCLE_IDLE;
	memset(runtime->lifecycle_target_app, 0, sizeof(runtime->lifecycle_target_app));
	runtime->lifecycle_target_temp = false;
	memset(runtime->lifecycle_previous_app, 0, sizeof(runtime->lifecycle_previous_app));
	runtime->lifecycle_previous_app_temp = false;
	runtime->dispatch_exited = false;
	memset(runtime->return_stack, 0, sizeof(runtime->return_stack));
	memset(runtime->return_stack_temp, 0, sizeof(runtime->return_stack_temp));
	runtime->return_stack_count = 0;
	for (size_t i = 0; i < return_stack_count; i++) {
		int result = sq_app_lifecycle_push_return(runtime, return_stack[i]);

		if (result != 0) {
			memset(runtime->return_stack, 0, sizeof(runtime->return_stack));
			runtime->return_stack_count = 0;
			return result;
		}
	}
	return set_start_reason(runtime, "wake");
}

int sq_app_lifecycle_next_step(struct sq_vm_runtime *runtime, const char *due_app,
			       const char *due_event, struct sq_app_lifecycle_step *out)
{
	int result;
	bool target_temp;

	if (runtime == NULL || out == NULL) {
		return -EINVAL;
	}
	memset(out, 0, sizeof(*out));

	if (runtime->lifecycle_phase != SQ_VM_RUNTIME_LIFECYCLE_IDLE ||
	    runtime->dispatch_exited) {
		sq_debug_log_append("%lld:ls_enter:ph=%d:ex=%d:arm=%d:stk=%zu",
			(long long)k_uptime_get(), runtime->lifecycle_phase, runtime->dispatch_exited,
			runtime->arm_phase, runtime->return_stack_count);
	}

	if (runtime->dispatch_exited &&
	    runtime->lifecycle_phase == SQ_VM_RUNTIME_LIFECYCLE_IDLE) {
		runtime->dispatch_exited = false;
		runtime->lifecycle_phase = SQ_VM_RUNTIME_LIFECYCLE_RETURN_REQUESTED;
		sq_debug_log_append("%lld:ls_exit_ret:cur=%s:stk=%zu",
			(long long)k_uptime_get(), runtime->current_app, runtime->return_stack_count);
	}

	switch (runtime->lifecycle_phase) {
	case SQ_VM_RUNTIME_LIFECYCLE_SLEEP_CHECKPOINT:
		runtime->lifecycle_phase = SQ_VM_RUNTIME_LIFECYCLE_IDLE;
		out->kind = SQ_APP_LIFECYCLE_STEP_WRITE_SLEEP_CHECKPOINT;
		out->wake_after_ms = runtime->planned_sleep_wake_after_ms;
		return 0;

	case SQ_VM_RUNTIME_LIFECYCLE_SLEEP_REQUESTED:
		runtime->lifecycle_phase = SQ_VM_RUNTIME_LIFECYCLE_SLEEP_CHECKPOINT;
		return set_step_start(out, runtime->current_app, "power.sleep", false,
				      runtime->current_app_temp);

	case SQ_VM_RUNTIME_LIFECYCLE_EXIT_FOR_LAUNCH:
		runtime->lifecycle_phase = SQ_VM_RUNTIME_LIFECYCLE_IDLE;
		sq_debug_log_append("%lld:ls_exit4launch:cur=%s:tgt=%s",
			(long long)k_uptime_get(), runtime->current_app, runtime->lifecycle_target_app);
		result = sq_app_lifecycle_push_return(runtime, runtime->current_app);
		if (result != 0) {
			memset(runtime->lifecycle_target_app, 0,
			       sizeof(runtime->lifecycle_target_app));
			return result;
		}
		result = set_start_reason(runtime, "launch");
		if (result != 0) {
			return result;
		}
		target_temp = runtime->lifecycle_target_temp;
		result = set_step_start(out, runtime->lifecycle_target_app, "app.start", true,
					target_temp);
		memset(runtime->lifecycle_target_app, 0, sizeof(runtime->lifecycle_target_app));
		runtime->lifecycle_target_temp = false;
		runtime->dispatch_exited = false;
		return result;

	case SQ_VM_RUNTIME_LIFECYCLE_LAUNCH_REQUESTED:
		sq_debug_log_append("%lld:ls_launch:tgt=%s:cur=%s:stk=%zu",
			(long long)k_uptime_get(), runtime->lifecycle_target_app, runtime->current_app,
			runtime->return_stack_count);
		if (runtime->current_app[0] != '\0') {
			runtime->lifecycle_phase = SQ_VM_RUNTIME_LIFECYCLE_EXIT_FOR_LAUNCH;
			return set_step_start(out, runtime->current_app, "app.exit", false,
					      runtime->current_app_temp);
		}
		if (!app_id_is_main(runtime->lifecycle_target_app)) {
			sq_debug_log_append("%lld:ls_push_main",
				(long long)k_uptime_get());
			result = sq_app_lifecycle_push_return(runtime, "main");
			if (result != 0) {
				return result;
			}
		}
		runtime->lifecycle_phase = SQ_VM_RUNTIME_LIFECYCLE_IDLE;
		result = set_start_reason(runtime, "launch");
		if (result != 0) {
			return result;
		}
		target_temp = runtime->lifecycle_target_temp;
		result = set_step_start(out, runtime->lifecycle_target_app, "app.start", true,
					target_temp);
		memset(runtime->lifecycle_target_app, 0, sizeof(runtime->lifecycle_target_app));
		runtime->lifecycle_target_temp = false;
		return result;

	case SQ_VM_RUNTIME_LIFECYCLE_RETURN_REQUESTED:
		runtime->lifecycle_phase = SQ_VM_RUNTIME_LIFECYCLE_IDLE;
		result = sq_app_lifecycle_pop_return(runtime, runtime->lifecycle_target_app,
						     sizeof(runtime->lifecycle_target_app));
		if (result != 0) {
			return result;
		}
		sq_debug_log_append("%lld:ls_pop:app=%s:stk=%zu",
			(long long)k_uptime_get(), runtime->lifecycle_target_app,
			runtime->return_stack_count);
		result = set_start_reason(runtime, "return");
		if (result != 0) {
			return result;
		}
		target_temp = runtime->lifecycle_target_temp;
		result = set_step_start(out, runtime->lifecycle_target_app, "app.start", true,
					target_temp);
		memset(runtime->lifecycle_target_app, 0, sizeof(runtime->lifecycle_target_app));
		runtime->lifecycle_target_temp = false;
		return result;

	case SQ_VM_RUNTIME_LIFECYCLE_IDLE:
		break;
	}

	if (runtime->arm_phase == SQ_VM_RUNTIME_ARM_REQUESTED) {
		result = copy_app_id_text(out->app_id, sizeof(out->app_id), runtime->arm_target_app);
		if (result != 0) {
			return result;
		}
		memset(runtime->arm_target_app, 0, sizeof(runtime->arm_target_app));
		runtime->arm_phase = SQ_VM_RUNTIME_ARM_IDLE;
		out->kind = SQ_APP_LIFECYCLE_STEP_REGISTER_ARMED_APP;
		return 0;
	}

	if (due_app != NULL && due_app[0] != '\0' && due_event != NULL && due_event[0] != '\0') {
		bool due_app_is_current = strcmp(runtime->current_app, due_app) == 0;

		if (due_app_is_current) {
			return set_step_start(out, due_app, due_event, false,
					      runtime->current_app_temp);
		}
		result = sq_app_lifecycle_push_return(runtime, runtime->current_app);
		if (result != 0) {
			return result;
		}
		result = set_start_reason(runtime, "launch");
		if (result != 0) {
			return result;
		}
		result = set_step_start(out, due_app, due_event, true, false);
		return result;
	}

	out->kind = SQ_APP_LIFECYCLE_STEP_POLL_RUNTIME;
	return 0;
}

const char *sq_app_lifecycle_phase_name(enum sq_vm_runtime_lifecycle_phase phase)
{
	switch (phase) {
	case SQ_VM_RUNTIME_LIFECYCLE_IDLE:
		return "idle";
	case SQ_VM_RUNTIME_LIFECYCLE_LAUNCH_REQUESTED:
		return "launch-requested";
	case SQ_VM_RUNTIME_LIFECYCLE_EXIT_FOR_LAUNCH:
		return "exit-for-launch";
	case SQ_VM_RUNTIME_LIFECYCLE_RETURN_REQUESTED:
		return "return-requested";
	case SQ_VM_RUNTIME_LIFECYCLE_SLEEP_REQUESTED:
		return "sleep-requested";
	case SQ_VM_RUNTIME_LIFECYCLE_SLEEP_CHECKPOINT:
		return "sleep-checkpoint";
	}
	return "unknown";
}

const char *sq_app_lifecycle_arm_phase_name(enum sq_vm_runtime_arm_phase phase)
{
	switch (phase) {
	case SQ_VM_RUNTIME_ARM_IDLE:
		return "idle";
	case SQ_VM_RUNTIME_ARM_REQUESTED:
		return "requested";
	}
	return "unknown";
}
```

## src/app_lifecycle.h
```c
#ifndef SQUIDSCRIPT_APP_LIFECYCLE_H
#define SQUIDSCRIPT_APP_LIFECYCLE_H

#include <stddef.h>
#include <stdint.h>

#include "vm_runtime.h"

#ifdef __cplusplus
extern "C" {
#endif

enum sq_app_lifecycle_step_kind {
	SQ_APP_LIFECYCLE_STEP_NONE = 0,
	SQ_APP_LIFECYCLE_STEP_START_APP = 1,
	SQ_APP_LIFECYCLE_STEP_REGISTER_ARMED_APP = 2,
	SQ_APP_LIFECYCLE_STEP_WRITE_SLEEP_CHECKPOINT = 3,
	SQ_APP_LIFECYCLE_STEP_POLL_RUNTIME = 4,
};

struct sq_app_lifecycle_step {
	enum sq_app_lifecycle_step_kind kind;
	char app_id[SQ_APP_STORE_APP_ID_MAX];
	char event[SQ_VM_RUNTIME_EVENT_LEN];
	bool set_current;
	bool temp_app;
	int32_t wake_after_ms;
};

int sq_app_lifecycle_request_launch(struct sq_vm_runtime *runtime, const uint8_t *app,
				    size_t app_len);
int sq_app_lifecycle_request_temp_launch(struct sq_vm_runtime *runtime, const uint8_t *app,
					 size_t app_len);
int sq_app_lifecycle_request_arm(struct sq_vm_runtime *runtime, const uint8_t *app,
				 size_t app_len);
int sq_app_lifecycle_cancel_pending_arm(struct sq_vm_runtime *runtime, const uint8_t *app,
					size_t app_len);
int sq_app_lifecycle_request_sleep(struct sq_vm_runtime *runtime, int32_t wake_after_ms);
void sq_app_lifecycle_cancel_pending_after_dispatch_error(struct sq_vm_runtime *runtime,
							  int result);
void sq_app_lifecycle_cancel_pending_after_start_failure(struct sq_vm_runtime *runtime,
							 int result);
int sq_app_lifecycle_push_return(struct sq_vm_runtime *runtime, const char *app_id);
int sq_app_lifecycle_pop_return(struct sq_vm_runtime *runtime, char *out, size_t out_len);
void sq_app_lifecycle_clear_temp_routes(struct sq_vm_runtime *runtime);
int sq_app_lifecycle_restore_planned_route(
	struct sq_vm_runtime *runtime,
	const char return_stack[SQ_VM_RUNTIME_RETURN_STACK_MAX][SQ_APP_STORE_APP_ID_MAX],
	uint8_t return_stack_count);
int sq_app_lifecycle_next_step(struct sq_vm_runtime *runtime, const char *due_app,
			       const char *due_event, struct sq_app_lifecycle_step *out);
const char *sq_app_lifecycle_phase_name(enum sq_vm_runtime_lifecycle_phase phase);
const char *sq_app_lifecycle_arm_phase_name(enum sq_vm_runtime_arm_phase phase);

#ifdef __cplusplus
}
#endif

#endif
```

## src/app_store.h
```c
#ifndef SQUIDSCRIPT_APP_STORE_H
#define SQUIDSCRIPT_APP_STORE_H

#include "vm_fs_storage.h"
#include "runtime_limits.h"

#include <stdbool.h>
#include <stddef.h>
#include <stdint.h>

#ifdef __cplusplus
extern "C" {
#endif

#ifndef SQ_APP_STORE_PATH_MAX
#define SQ_APP_STORE_PATH_MAX 128
#endif
#ifndef SQ_APP_STORE_APP_FILE_PATH_MAX
#define SQ_APP_STORE_APP_FILE_PATH_MAX 64
#endif
#ifndef SQ_APP_STORE_APP_STATE_PATH_MAX
#define SQ_APP_STORE_APP_STATE_PATH_MAX 60
#endif
#ifndef SQ_APP_STORE_DEVICE_CONFIG_PATH_MAX
#define SQ_APP_STORE_DEVICE_CONFIG_PATH_MAX 40
#endif
#ifndef SQ_APP_STORE_RUNTIME_CONFIG_PATH_MAX
#define SQ_APP_STORE_RUNTIME_CONFIG_PATH_MAX 40
#endif
#ifndef SQ_APP_STORE_PLANNED_RESUME_PATH_MAX
#define SQ_APP_STORE_PLANNED_RESUME_PATH_MAX 48
#endif
#ifndef SQ_APP_STORE_APP_ID_MAX
#define SQ_APP_STORE_APP_ID_MAX 40
#endif
#ifndef SQ_APP_STORE_MAX_APPS
#define SQ_APP_STORE_MAX_APPS 8
#endif

#define SQ_APP_REGISTRY_SLOT_INVALID UINT8_MAX
#define SQ_APP_REGISTRY_SLOT_FALLBACK (UINT8_MAX - 1u)

struct fs_mount_t;

struct sq_app_registry_entry {
	char app_id[SQ_APP_STORE_APP_ID_MAX];
	uint32_t sqbc_len;
};

struct sq_app_registry {
	uint8_t count;
	struct sq_app_registry_entry apps[SQ_APP_STORE_MAX_APPS];
};

struct sq_app_store_vm_storage {
	struct sq_vm_fs_storage fs_storage;
	char sqbc_path[SQ_APP_STORE_APP_FILE_PATH_MAX];
	char state_path[SQ_APP_STORE_APP_STATE_PATH_MAX];
};

struct sq_app_store_format_job {
	bool active;
	uint8_t phase;
};

int sq_app_store_prepare_filesystem(const char *mount_point);

int sq_app_store_mount_target_filesystem(void);

const char *sq_app_store_mount_point(void);

/* Storage must be zero-initialized before its first setup. Reusing an initialized
 * object releases its active SQBC handle before replacing the paths. */
int sq_app_store_vm_storage_for_app(const char *mount_point, const char *app_id,
				    struct sq_app_store_vm_storage *storage);
int sq_app_store_vm_storage_for_app_bytes(const char *mount_point, const uint8_t *app_id,
					  size_t app_id_len,
					  struct sq_app_store_vm_storage *storage);

int sq_app_store_sqbc_path(const char *mount_point, const char *app_id, char *out,
			   size_t out_len);

int sq_app_store_install_app(const char *mount_point, const char *app_id, const uint8_t *sqbc,
			     size_t sqbc_len);

bool sq_app_store_is_safe_app_id(const char *app_id);

int sq_app_store_read_app_id_from_file_ref(const char *staging_path, char *out_app_id,
					   size_t out_app_id_len);

int sq_app_store_install_from_file_ref(const char *mount_point, const char *app_id,
				       const char *staging_path);

/* Commit an already-written staging file into the app store by renaming it into
 * place (no copy). Use this when the source bytes are already on flash (e.g. a
 * BLE-received object) and the install runs close to a launch of the same app:
 * a rename leaves the data blocks untouched, avoiding the stale-read-cache fault
 * that a fresh copy triggers on the ESP32. Consumes the source file. */
int sq_app_store_commit_external_file(const char *mount_point, const char *app_id,
				      const char *source_path);

int sq_app_store_begin_staged_install(const char *mount_point, const char *app_id,
				      char *staging_path, size_t staging_path_len);

int sq_app_store_begin_temp_run(const char *mount_point, char *staging_path,
				size_t staging_path_len);

int sq_app_store_begin_staged_resource(const char *mount_point, char *staging_path,
				       size_t staging_path_len);

int sq_app_store_write_staged_chunk(const char *staging_path, size_t offset,
				    const uint8_t *bytes, size_t len);

int sq_app_store_commit_staged_install(const char *mount_point, const char *app_id,
				       const char *staging_path);

int sq_app_store_commit_staged_resource(const char *mount_point, const char *app_id,
					const char *resource_path, const char *staging_path);

int sq_app_store_commit_staged_resource_with_path(const char *mount_point, const char *app_id,
						  const char *resource_path,
						  const char *staging_path, char *path,
						  size_t path_len);

int sq_app_store_resource_path(const char *mount_point, const char *app_id,
			       const char *resource_path, char *out, size_t out_len);

int sq_app_store_resource_path_bytes(const char *mount_point, const char *app_id,
				     const uint8_t *resource_path, size_t resource_path_len,
				     char *out, size_t out_len);

int sq_app_store_device_config_path(const char *mount_point, char *out, size_t out_len);
int sq_app_store_runtime_config_path(const char *mount_point, char *out, size_t out_len);
int sq_app_store_planned_resume_path(const char *mount_point, char *out, size_t out_len);
int sq_app_store_planned_resume_temp_path(const char *mount_point, char *out, size_t out_len);

int sq_app_store_install_resource(const char *mount_point, const char *app_id,
				  const char *resource_path, const uint8_t *bytes,
				  size_t len);

int sq_app_store_scan_registry(const char *mount_point, struct sq_app_registry *registry);

int sq_app_store_scan_registry_with_path(const char *mount_point,
					 struct sq_app_registry *registry, char *path,
					 size_t path_cap);

int sq_app_registry_validate(const struct sq_app_registry *registry, char *line,
			     size_t line_len);

int sq_app_store_update_registry_entry_with_path(const char *mount_point,
						 struct sq_app_registry *registry,
						 const char *app_id, char *path,
						 size_t path_cap);

int sq_app_store_format_filesystem(const char *mount_point);
void sq_app_store_format_job_reset(struct sq_app_store_format_job *job);
int sq_app_store_format_job_step(struct sq_app_store_format_job *job, const char *mount_point,
				 bool *done);

const struct sq_app_registry_entry *sq_app_registry_find(const struct sq_app_registry *registry,
							const char *app_id);
int sq_app_registry_slot_for_app(const struct sq_app_registry *registry, const char *app_id,
				 uint8_t *out_slot);
const char *sq_app_registry_app_id_at(const struct sq_app_registry *registry, uint8_t slot);

struct sq_vm_storage_backend
sq_app_store_vm_storage_backend(struct sq_app_store_vm_storage *storage);

#ifdef __cplusplus
}
#endif

#endif
```

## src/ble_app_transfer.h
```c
#ifndef SQUIDSCRIPT_BLE_APP_TRANSFER_H
#define SQUIDSCRIPT_BLE_APP_TRANSFER_H

#include <stdint.h>

#ifdef __cplusplus
extern "C" {
#endif

/*
 * Custom GATT app-transfer service: the bleak/Web-Bluetooth-drivable upload
 * transport. The service is auto-registered via BT_GATT_SERVICE_DEFINE, so
 * there is no init/register call; it drives the transport-neutral core in
 * ble_object_transfer.h. The control characteristic carries BEGIN(name+size)/
 * ABORT, the data characteristic carries chunked content, and the status
 * characteristic notifies completion/error.
 */

/* Reset the per-connection transport state (call on disconnect). */
void sq_ble_app_transfer_reset(void);

/* The advertised 128-bit service UUID as a raw 16-byte little-endian array, for
 * BT_DATA(BT_DATA_UUID128_ALL, ...). Web Bluetooth filters by this UUID. All
 * zeroes when CONFIG_BT is disabled.
 */
extern const uint8_t sq_ble_app_transfer_adv_uuid[16];

#ifdef __cplusplus
}
#endif

#endif /* SQUIDSCRIPT_BLE_APP_TRANSFER_H */
```
